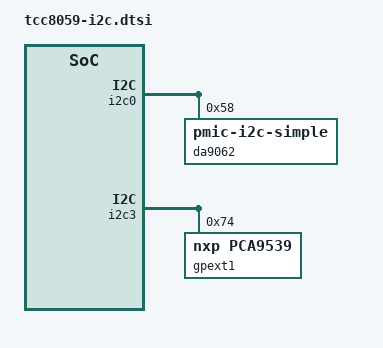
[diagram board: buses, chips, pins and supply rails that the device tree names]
// SPDX-License-Identifier: (GPL-2.0-or-later OR MIT)
/*
 * Copyright (C) 2023 Telechips Inc.
 */

&i2c0 {
	pinctrl-names = "default";
	pinctrl-0 = <&i2c12_bus>;
	port-mux = <12>;
	status = "okay";

	da9062 {
		compatible = "pmic-i2c-simple";
		reg = <0x58>;
	};
};

&i2c3 {
	pinctrl-names = "default";
	pinctrl-0 = <&i2c11_bus>;
	port-mux = <11>;

	status = "okay";

	gpext1: tca9539@74 {
		compatible = "nxp,pca9539";
		reg = <0x74>;
		gpio-controller;
		#gpio-cells = <2>;
		label = "gpext1";

		status = "okay";
	};
};

&pinctrl {
	/omit-if-no-ref/
	i2c11_bus: i2c11_bus {
		telechips,pins = "gpb-19", "gpb-20";
		telechips,pin-function = <8>;
		telechips,input-enable;
		telechips,no-pull;
	};

	/omit-if-no-ref/
	i2c12_bus: i2c12_bus {
		telechips,pins = "gpb-21", "gpb-22";
		telechips,pin-function = <8>;
		telechips,input-enable;
		telechips,no-pull;
	};

	/omit-if-no-ref/
	i2c28_bus: i2c28_bus {
		telechips,pins = "gpma-28", "gpma-29";
		telechips,pin-function = <8>;
		telechips,input-enable;
		telechips,no-pull;
	};
};
